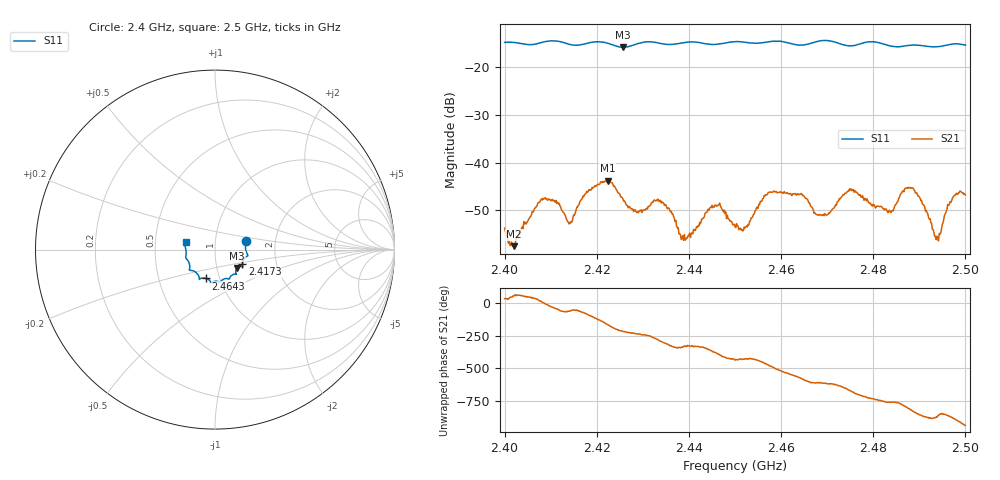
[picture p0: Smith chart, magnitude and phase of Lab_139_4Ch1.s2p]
# Hz S RI R 50
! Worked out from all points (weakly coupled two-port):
!   601 points, 2.4 GHz to 2.5 GHz, reference 50 ohm
!   highest |S21| = -43.74 dB at 2.4223 GHz (marker M1); lowest = -57.4 dB at 2.402 GHz (marker M2)
!   lowest |S11| = -15.9 dB at 2.4257 GHz (marker M3), VSWR 1.38, Z = 62.4 - j13.1 ohm
!   |S11| at or under -10 dB: start of sweep to end of sweep
!   S12 and S22 are empty: the file has one direction only
!   S11 on the Smith chart (normalised r, x): 2.4 GHz: 1.41, +0.14; 2.4173 GHz: 1.34, -0.23; 2.4643 GHz: 0.86, -0.28; 2.5 GHz: 0.72, +0.06
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2.4e9  0.1731 0.0497  0.00179 0.00104  0 0  0 0
2.402e9  0.1748 0.0416  0.000806 0.00107  0 0  0 0
2.408333e9  0.1796 -0.0237  0.00423 -3.35e-05  0 0  0 0
2.414167e9  0.1643 -0.0478  0.00102 -0.00216  0 0  0 0
2.416667e9  0.1529 -0.0747  0.00125 -0.00396  0 0  0 0
2.417333e9  0.1523 -0.0821  0.000764 -0.00455  0 0  0 0
2.422333e9  0.1495 -0.0937  -0.00633 -0.00149  0 0  0 0
2.425667e9  0.1226 -0.1023  -0.00324 0.00265  0 0  0 0
2.433333e9  0.1128 -0.1367  0.000895 0.00406  0 0  0 0
2.438833e9  0.0813 -0.1588  0.00141 0.000636  0 0  0 0
2.446167e9  0.0462 -0.1657  0.00315 -0.00164  0 0  0 0
2.45e9  0.0296 -0.1809  0.000494 -0.00209  0 0  0 0
2.457333e9  -0.0154 -0.1819  -0.00217 -0.00441  0 0  0 0
2.464333e9  -0.0503 -0.1606  -0.00388 0.00275  0 0  0 0
2.466667e9  -0.0763 -0.1599  -0.00129 0.00319  0 0  0 0
2.470167e9  -0.0872 -0.1659  -0.000618 0.00281  0 0  0 0
2.475167e9  -0.1083 -0.1251  0.00354 0.00398  0 0  0 0
2.483333e9  -0.1408 -0.0893  0.00246 -0.00184  0 0  0 0
2.488333e9  -0.1612 -0.0492  -0.000664 -0.00537  0 0  0 0
2.493833e9  -0.1619 -0.00345  -0.00148 -0.000851  0 0  0 0
2.497167e9  -0.1705 0.0274  -0.00378 -0.0019  0 0  0 0
2.5e9  -0.1634 0.0417  -0.00387 0.00247  0 0  0 0
